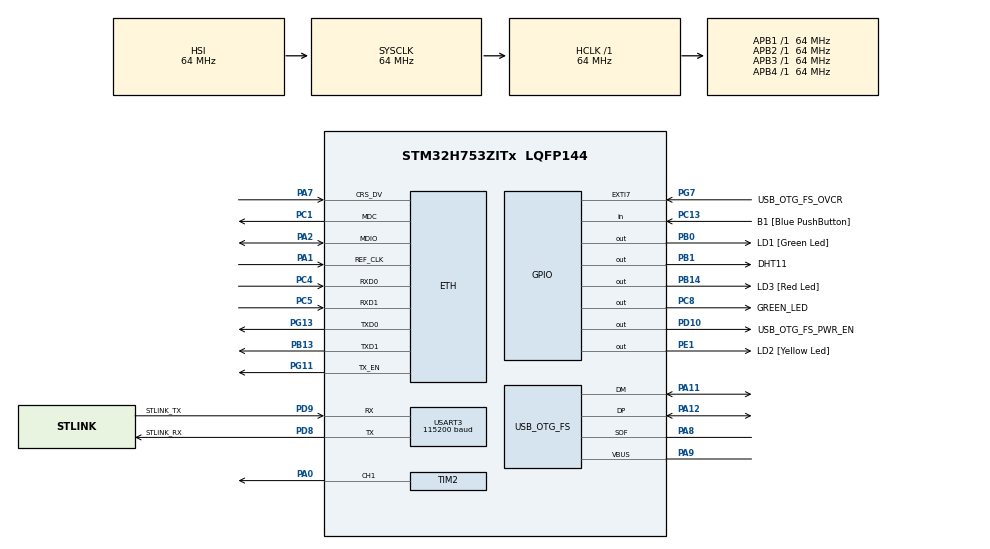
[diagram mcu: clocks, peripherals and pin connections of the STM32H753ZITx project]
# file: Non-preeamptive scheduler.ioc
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CORTEX_M7.CPU_DCache=Disabled
CORTEX_M7.CPU_ICache=Disabled
CORTEX_M7.MPU_Control=__NULL
ETH.ETH_RX_DESC_CNT=4
ETH.ETH_TX_DESC_CNT=4
ETH.MACAddr=00\:80\:E1\:00\:00\:00
ETH.MediaInterface=HAL_ETH_RMII_MODE
ETH.RxBuffAddress=0x30040200
ETH.RxBuffLen=1524
ETH.RxDescAddress=0x30040000
ETH.TxDescAddress=0x30040060
Mcu.Family=STM32H7
Mcu.Name=STM32H753ZITx
Mcu.Package=LQFP144
Mcu.UserConstants=T2_PRE,7000;T2_CNT,4999
NVIC.PriorityGroup=NVIC_PRIORITYGROUP_4
NVIC.TIM2_IRQn=true\:0\:0\:false\:false\:true\:true\:true\:true
PA0.Signal=S_TIM2_CH1_ETR
PA1.Mode=RMII
PA1.Signal=ETH_REF_CLK
PA11.Mode=Device_Only
PA11.Signal=USB_OTG_FS_DM
PA12.Mode=Device_Only
PA12.Signal=USB_OTG_FS_DP
PA2.Mode=RMII
PA2.Signal=ETH_MDIO
PA7.Mode=RMII
PA7.Signal=ETH_CRS_DV
PA8.Mode=Activate_SOF_FS
PA8.Signal=USB_OTG_FS_SOF
PA9.Mode=Activate_VBUS
PA9.Signal=USB_OTG_FS_VBUS
PB0.GPIO_Label=LD1 [Green Led]
PB0.Signal=GPIO_Output
PB1.GPIO_Label=DHT11
PB1.Signal=GPIO_Output
PB13.Mode=RMII
PB13.Signal=ETH_TXD1
PB14.GPIO_Label=LD3 [Red Led]
PB14.Signal=GPIO_Output
PC1.Mode=RMII
PC1.Signal=ETH_MDC
PC13.GPIO_Label=B1 [Blue PushButton]
PC13.Signal=GPIO_Input
PC14-OSC32_IN\ (OSC32_IN).Mode=LSE-External-Oscillator
PC14-OSC32_IN\ (OSC32_IN).Signal=RCC_OSC32_IN
PC15-OSC32_OUT\ (OSC32_OUT).Mode=LSE-External-Oscillator
PC15-OSC32_OUT\ (OSC32_OUT).Signal=RCC_OSC32_OUT
PC4.Mode=RMII
PC4.Signal=ETH_RXD0
PC5.Mode=RMII
PC5.Signal=ETH_RXD1
PC8.GPIO_Label=GREEN_LED
PC8.Signal=GPIO_Output
PD10.GPIO_Label=USB_OTG_FS_PWR_EN
PD10.Signal=GPIO_Output
PD8.GPIO_Label=STLINK_RX
PD8.Mode=Asynchronous
PD8.Signal=USART3_TX
PD9.GPIO_Label=STLINK_TX
PD9.Mode=Asynchronous
PD9.Signal=USART3_RX
PE1.GPIO_Label=LD2 [Yellow Led]
PE1.Signal=GPIO_Output
PG11.Mode=RMII
PG11.Signal=ETH_TX_EN
PG13.Mode=RMII
PG13.Signal=ETH_TXD0
PG7.GPIO_Label=USB_OTG_FS_OVCR
PG7.Signal=GPXTI7
PH0-OSC_IN\ (PH0).Mode=HSE-External-Clock-Source
PH0-OSC_IN\ (PH0).Signal=RCC_OSC_IN
PH1-OSC_OUT\ (PH1).Signal=RCC_OSC_OUT
ProjectManager.HeapSize=0x200
ProjectManager.StackSize=0x400
ProjectManager.TargetToolchain=STM32CubeIDE
RCC.ADCFreq_Value=16125000
RCC.APB1Freq_Value=64000000
RCC.APB2Freq_Value=64000000
RCC.APB3Freq_Value=64000000
RCC.APB4Freq_Value=64000000
RCC.CortexFreq_Value=64000000
RCC.DIVM1=1
RCC.DIVN1=24
RCC.DIVQ1=4
RCC.HCLKFreq_Value=64000000
RCC.HSE_VALUE=8000000
RCC.PLLFRACN=0
RCC.PWR_Regulator_Voltage_Scale=PWR_REGULATOR_VOLTAGE_SCALE2
RCC.SYSCLKFreq_VALUE=64000000
RCC.USBFreq_Value=48000000
SH.S_TIM2_CH1_ETR.0=TIM2_CH1,Output Compare1 CH1
TIM2.Channel-Output\ Compare1\ CH1=TIM_CHANNEL_1
TIM2.Period=T2_CNT
TIM2.Prescaler=T2_PRE
USART3.AutoBaudRateEnableParam=UART_ADVFEATURE_AUTOBAUDRATE_DISABLE
USART3.BaudRate=115200
USART3.ClockPrescaler=PRESCALER_DIV1
USART3.DMADisableonRxErrorParam=ADVFEATURE_DMA_ENABLEONRXERROR
USART3.DataInvertParam=ADVFEATURE_DATAINV_DISABLE
USART3.FIFOMode=FIFOMODE_DISABLE
USART3.MSBFirstParam=ADVFEATURE_MSBFIRST_DISABLE
USART3.Mode=MODE_TX_RX
USART3.OneBitSampling=UART_ONE_BIT_SAMPLE_DISABLE
USART3.OverSampling=UART_OVERSAMPLING_16
USART3.OverrunDisableParam=ADVFEATURE_OVERRUN_ENABLE
USART3.Parity=PARITY_NONE
USART3.RXFIFOThreshold=RXFIFO_THRESHOLD_1EIGHTHFULL
USART3.RxPinLevelInvertParam=ADVFEATURE_RXINV_DISABLE
USART3.StopBits=STOPBITS_1
USART3.SwapParam=ADVFEATURE_SWAP_DISABLE
USART3.TXFIFOThreshold=TXFIFO_THRESHOLD_1EIGHTHFULL
USART3.TxPinLevelInvertParam=ADVFEATURE_TXINV_DISABLE
USART3.VirtualMode-Asynchronous=VM_ASYNC
USART3.WordLength=WORDLENGTH_8B
USB_OTG_FS.Sof_enable=ENABLE
USB_OTG_FS.VirtualMode=Device_Only
USB_OTG_FS.battery_charging_enable=ENABLE
USB_OTG_FS.low_power_enable=DISABLE
USB_OTG_FS.lpm_enable=DISABLE
USB_OTG_FS.use_dedicated_ep1=DISABLE
USB_OTG_FS.vbus_sensing_enable=ENABLE
VP_TIM2_VS_ClockSourceINT.Mode=Internal
board=NUCLEO-H753ZI

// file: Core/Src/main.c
/* USER CODE BEGIN Header */
/**
  ******************************************************************************
  * @file           : main.c
  * @brief          : Main program body
  ******************************************************************************
  * @attention
  *
  * Copyright (c) 2024 STMicroelectronics.
  * All rights reserved.
  *
  * This software is licensed under terms that can be found in the LICENSE file
  * in the root directory of this software component.
  * If no LICENSE file comes with this software, it is provided AS-IS.
  *
  ******************************************************************************
  */
/* USER CODE END Header */
#include "main.h"
#include "string.h"
#include <stdio.h>

/* USER CODE BEGIN PD */
#define T3_PRE 7199
#define T3_CNT 4999
#define T2_PRE 7000
#define T2_CNT 4999
/* USER CODE END PD */

#if defined ( __ICCARM__ ) /*!< IAR Compiler */
#pragma location=0x30040000
ETH_DMADescTypeDef  DMARxDscrTab[ETH_RX_DESC_CNT]; /* Ethernet Rx DMA Descriptors */
#pragma location=0x30040060
ETH_DMADescTypeDef  DMATxDscrTab[ETH_TX_DESC_CNT]; /* Ethernet Tx DMA Descriptors */

#elif defined ( __CC_ARM )  /* MDK ARM Compiler */

__attribute__((at(0x30040000))) ETH_DMADescTypeDef  DMARxDscrTab[ETH_RX_DESC_CNT]; /* Ethernet Rx DMA Descriptors */
__attribute__((at(0x30040060))) ETH_DMADescTypeDef  DMATxDscrTab[ETH_TX_DESC_CNT]; /* Ethernet Tx DMA Descriptors */

#elif defined ( __GNUC__ ) /* GNU Compiler */

ETH_DMADescTypeDef DMARxDscrTab[ETH_RX_DESC_CNT] __attribute__((section(".RxDecripSection"))); /* Ethernet Rx DMA Descriptors */
ETH_DMADescTypeDef DMATxDscrTab[ETH_TX_DESC_CNT] __attribute__((section(".TxDecripSection")));   /* Ethernet Tx DMA Descriptors */
#endif

ETH_TxPacketConfig TxConfig;

ETH_HandleTypeDef heth;

TIM_HandleTypeDef htim2;

UART_HandleTypeDef huart3;

PCD_HandleTypeDef hpcd_USB_OTG_FS;

/* USER CODE BEGIN PV */

//uint8_t p[] = "Hello \r\n";
char sensor[50];
//= "Hello\n\r";

void (*ptr[5])(void*) = {&Blink_Led, &Message, &Sensor};

unsigned long current_millis = 0;
unsigned long current_millis2 = 0;
unsigned long current_millis3 = 0;
unsigned long start_millis = 0;

void sch();

/* USER CODE END PV */

void SystemClock_Config(void);
static void MX_GPIO_Init(void);
static void MX_ETH_Init(void);
static void MX_USART3_UART_Init(void);
static void MX_USB_OTG_FS_PCD_Init(void);
static void MX_TIM2_Init(void);

int main(void)
{

  /* MCU Configuration--------------------------------------------------------*/

  /* Reset of all peripherals, Initializes the Flash interface and the Systick. */
  HAL_Init();

  /* Configure the system clock */
  SystemClock_Config();

  /* Initialize all configured peripherals */
  MX_GPIO_Init();
  MX_ETH_Init();
  MX_USART3_UART_Init();
  MX_USB_OTG_FS_PCD_Init();
  MX_TIM2_Init();
  /* USER CODE BEGIN 2 */
  htim2.Init.Period = T2_PRE;

  HAL_TIM_Base_Start(&htim2);
 // start_millis = HAL_GetTick();
  /* USER CODE END 2 */

  /* Infinite loop */
  while (1)
  {

    /* USER CODE BEGIN 3 */
	 // timer_val = HAL_GetTick();

	  sch();

	//  int len = sprintf(uart_buff, "%u \n\r", timer_val);
	 // HAL_UART_Transmit(&huart3, (uint8_t *)uart_buff, len, 1000);

  }
  /* USER CODE END 3 */
}

void SystemClock_Config(void)
{
  RCC_OscInitTypeDef RCC_OscInitStruct = {0};
  RCC_ClkInitTypeDef RCC_ClkInitStruct = {0};

  /** Supply configuration update enable
  */
  HAL_PWREx_ConfigSupply(PWR_LDO_SUPPLY);

  /** Configure the main internal regulator output voltage
  */
  __HAL_PWR_VOLTAGESCALING_CONFIG(PWR_REGULATOR_VOLTAGE_SCALE2);

  while(!__HAL_PWR_GET_FLAG(PWR_FLAG_VOSRDY)) {}

  /** Initializes the RCC Oscillators according to the specified parameters
  * in the RCC_OscInitTypeDef structure.
  */
  RCC_OscInitStruct.OscillatorType = RCC_OSCILLATORTYPE_HSI|RCC_OSCILLATORTYPE_HSE;
  RCC_OscInitStruct.HSEState = RCC_HSE_BYPASS;
  RCC_OscInitStruct.HSIState = RCC_HSI_DIV1;
  RCC_OscInitStruct.HSICalibrationValue = RCC_HSICALIBRATION_DEFAULT;
  RCC_OscInitStruct.PLL.PLLState = RCC_PLL_ON;
  RCC_OscInitStruct.PLL.PLLSource = RCC_PLLSOURCE_HSE;
  RCC_OscInitStruct.PLL.PLLM = 1;
  RCC_OscInitStruct.PLL.PLLN = 24;
  RCC_OscInitStruct.PLL.PLLP = 2;
  RCC_OscInitStruct.PLL.PLLQ = 4;
  RCC_OscInitStruct.PLL.PLLR = 2;
  RCC_OscInitStruct.PLL.PLLRGE = RCC_PLL1VCIRANGE_3;
  RCC_OscInitStruct.PLL.PLLVCOSEL = RCC_PLL1VCOWIDE;
  RCC_OscInitStruct.PLL.PLLFRACN = 0;
  if (HAL_RCC_OscConfig(&RCC_OscInitStruct) != HAL_OK)
  {
    Error_Handler();
  }

  /** Initializes the CPU, AHB and APB buses clocks
  */
  RCC_ClkInitStruct.ClockType = RCC_CLOCKTYPE_HCLK|RCC_CLOCKTYPE_SYSCLK
                              |RCC_CLOCKTYPE_PCLK1|RCC_CLOCKTYPE_PCLK2
                              |RCC_CLOCKTYPE_D3PCLK1|RCC_CLOCKTYPE_D1PCLK1;
  RCC_ClkInitStruct.SYSCLKSource = RCC_SYSCLKSOURCE_HSI;
  RCC_ClkInitStruct.SYSCLKDivider = RCC_SYSCLK_DIV1;
  RCC_ClkInitStruct.AHBCLKDivider = RCC_HCLK_DIV1;
  RCC_ClkInitStruct.APB3CLKDivider = RCC_APB3_DIV1;
  RCC_ClkInitStruct.APB1CLKDivider = RCC_APB1_DIV1;
  RCC_ClkInitStruct.APB2CLKDivider = RCC_APB2_DIV1;
  RCC_ClkInitStruct.APB4CLKDivider = RCC_APB4_DIV1;

  if (HAL_RCC_ClockConfig(&RCC_ClkInitStruct, FLASH_LATENCY_1) != HAL_OK)
  {
    Error_Handler();
  }
}

static void MX_ETH_Init(void)
{

   static uint8_t MACAddr[6];

  heth.Instance = ETH;
  MACAddr[0] = 0x00;
  MACAddr[1] = 0x80;
  MACAddr[2] = 0xE1;
  MACAddr[3] = 0x00;
  MACAddr[4] = 0x00;
  MACAddr[5] = 0x00;
  heth.Init.MACAddr = &MACAddr[0];
  heth.Init.MediaInterface = HAL_ETH_RMII_MODE;
  heth.Init.TxDesc = DMATxDscrTab;
  heth.Init.RxDesc = DMARxDscrTab;
  heth.Init.RxBuffLen = 1524;

  if (HAL_ETH_Init(&heth) != HAL_OK)
  {
    Error_Handler();
  }

  memset(&TxConfig, 0 , sizeof(ETH_TxPacketConfig));
  TxConfig.Attributes = ETH_TX_PACKETS_FEATURES_CSUM | ETH_TX_PACKETS_FEATURES_CRCPAD;
  TxConfig.ChecksumCtrl = ETH_CHECKSUM_IPHDR_PAYLOAD_INSERT_PHDR_CALC;
  TxConfig.CRCPadCtrl = ETH_CRC_PAD_INSERT;

}

static void MX_TIM2_Init(void)
{

  TIM_ClockConfigTypeDef sClockSourceConfig = {0};
  TIM_MasterConfigTypeDef sMasterConfig = {0};
  TIM_OC_InitTypeDef sConfigOC = {0};

  htim2.Instance = TIM2;
  htim2.Init.Prescaler = T2_PRE;
  htim2.Init.CounterMode = TIM_COUNTERMODE_UP;
  htim2.Init.Period = T2_CNT;
  htim2.Init.ClockDivision = TIM_CLOCKDIVISION_DIV1;
  htim2.Init.AutoReloadPreload = TIM_AUTORELOAD_PRELOAD_DISABLE;
  if (HAL_TIM_Base_Init(&htim2) != HAL_OK)
  {
    Error_Handler();
  }
  sClockSourceConfig.ClockSource = TIM_CLOCKSOURCE_INTERNAL;
  if (HAL_TIM_ConfigClockSource(&htim2, &sClockSourceConfig) != HAL_OK)
  {
    Error_Handler();
  }
  if (HAL_TIM_OC_Init(&htim2) != HAL_OK)
  {
    Error_Handler();
  }
  sMasterConfig.MasterOutputTrigger = TIM_TRGO_RESET;
  sMasterConfig.MasterSlaveMode = TIM_MASTERSLAVEMODE_DISABLE;
  if (HAL_TIMEx_MasterConfigSynchronization(&htim2, &sMasterConfig) != HAL_OK)
  {
    Error_Handler();
  }
  sConfigOC.OCMode = TIM_OCMODE_TIMING;
  sConfigOC.Pulse = 0;
  sConfigOC.OCPolarity = TIM_OCPOLARITY_HIGH;
  sConfigOC.OCFastMode = TIM_OCFAST_DISABLE;
  if (HAL_TIM_OC_ConfigChannel(&htim2, &sConfigOC, TIM_CHANNEL_1) != HAL_OK)
  {
    Error_Handler();
  }
  HAL_TIM_MspPostInit(&htim2);

}

static void MX_USART3_UART_Init(void)
{

  huart3.Instance = USART3;
  huart3.Init.BaudRate = 115200;
  huart3.Init.WordLength = UART_WORDLENGTH_8B;
  huart3.Init.StopBits = UART_STOPBITS_1;
  huart3.Init.Parity = UART_PARITY_NONE;
  huart3.Init.Mode = UART_MODE_TX_RX;
  huart3.Init.HwFlowCtl = UART_HWCONTROL_NONE;
  huart3.Init.OverSampling = UART_OVERSAMPLING_16;
  huart3.Init.OneBitSampling = UART_ONE_BIT_SAMPLE_DISABLE;
  huart3.Init.ClockPrescaler = UART_PRESCALER_DIV1;
  huart3.AdvancedInit.AdvFeatureInit = UART_ADVFEATURE_NO_INIT;
  if (HAL_UART_Init(&huart3) != HAL_OK)
  {
    Error_Handler();
  }
  if (HAL_UARTEx_SetTxFifoThreshold(&huart3, UART_TXFIFO_THRESHOLD_1_8) != HAL_OK)
  {
    Error_Handler();
  }
  if (HAL_UARTEx_SetRxFifoThreshold(&huart3, UART_RXFIFO_THRESHOLD_1_8) != HAL_OK)
  {
    Error_Handler();
  }
  if (HAL_UARTEx_DisableFifoMode(&huart3) != HAL_OK)
  {
    Error_Handler();
  }

}

static void MX_USB_OTG_FS_PCD_Init(void)
{

  hpcd_USB_OTG_FS.Instance = USB_OTG_FS;
  hpcd_USB_OTG_FS.Init.dev_endpoints = 9;
  hpcd_USB_OTG_FS.Init.speed = PCD_SPEED_FULL;
  hpcd_USB_OTG_FS.Init.dma_enable = DISABLE;
  hpcd_USB_OTG_FS.Init.phy_itface = PCD_PHY_EMBEDDED;
  hpcd_USB_OTG_FS.Init.Sof_enable = ENABLE;
  hpcd_USB_OTG_FS.Init.low_power_enable = DISABLE;
  hpcd_USB_OTG_FS.Init.lpm_enable = DISABLE;
  hpcd_USB_OTG_FS.Init.battery_charging_enable = ENABLE;
  hpcd_USB_OTG_FS.Init.vbus_sensing_enable = ENABLE;
  hpcd_USB_OTG_FS.Init.use_dedicated_ep1 = DISABLE;
  if (HAL_PCD_Init(&hpcd_USB_OTG_FS) != HAL_OK)
  {
    Error_Handler();
  }

}

static void MX_GPIO_Init(void)
{
  GPIO_InitTypeDef GPIO_InitStruct = {0};

  /* GPIO Ports Clock Enable */
  __HAL_RCC_GPIOC_CLK_ENABLE();
  __HAL_RCC_GPIOH_CLK_ENABLE();
  __HAL_RCC_GPIOA_CLK_ENABLE();
  __HAL_RCC_GPIOB_CLK_ENABLE();
  __HAL_RCC_GPIOD_CLK_ENABLE();
  __HAL_RCC_GPIOG_CLK_ENABLE();
  __HAL_RCC_GPIOE_CLK_ENABLE();

  /*Configure GPIO pin Output Level */
  HAL_GPIO_WritePin(GPIOB, LD1_Pin|DHT11_Pin|LD3_Pin, GPIO_PIN_RESET);

  /*Configure GPIO pin Output Level */
  HAL_GPIO_WritePin(USB_OTG_FS_PWR_EN_GPIO_Port, USB_OTG_FS_PWR_EN_Pin, GPIO_PIN_RESET);

  /*Configure GPIO pin Output Level */
  HAL_GPIO_WritePin(GREEN_LED_GPIO_Port, GREEN_LED_Pin, GPIO_PIN_RESET);

  /*Configure GPIO pin Output Level */
  HAL_GPIO_WritePin(LD2_GPIO_Port, LD2_Pin, GPIO_PIN_RESET);

  /*Configure GPIO pin : B1_Pin */
  GPIO_InitStruct.Pin = B1_Pin;
  GPIO_InitStruct.Mode = GPIO_MODE_INPUT;
  GPIO_InitStruct.Pull = GPIO_NOPULL;
  HAL_GPIO_Init(B1_GPIO_Port, &GPIO_InitStruct);

  /*Configure GPIO pins : LD1_Pin DHT11_Pin LD3_Pin */
  GPIO_InitStruct.Pin = LD1_Pin|DHT11_Pin|LD3_Pin;
  GPIO_InitStruct.Mode = GPIO_MODE_OUTPUT_PP;
  GPIO_InitStruct.Pull = GPIO_NOPULL;
  GPIO_InitStruct.Speed = GPIO_SPEED_FREQ_LOW;
  HAL_GPIO_Init(GPIOB, &GPIO_InitStruct);

  /*Configure GPIO pin : USB_OTG_FS_PWR_EN_Pin */
  GPIO_InitStruct.Pin = USB_OTG_FS_PWR_EN_Pin;
  GPIO_InitStruct.Mode = GPIO_MODE_OUTPUT_PP;
  GPIO_InitStruct.Pull = GPIO_NOPULL;
  GPIO_InitStruct.Speed = GPIO_SPEED_FREQ_LOW;
  HAL_GPIO_Init(USB_OTG_FS_PWR_EN_GPIO_Port, &GPIO_InitStruct);

  /*Configure GPIO pin : USB_OTG_FS_OVCR_Pin */
  GPIO_InitStruct.Pin = USB_OTG_FS_OVCR_Pin;
  GPIO_InitStruct.Mode = GPIO_MODE_IT_RISING;
  GPIO_InitStruct.Pull = GPIO_NOPULL;
  HAL_GPIO_Init(USB_OTG_FS_OVCR_GPIO_Port, &GPIO_InitStruct);

  /*Configure GPIO pin : GREEN_LED_Pin */
  GPIO_InitStruct.Pin = GREEN_LED_Pin;
  GPIO_InitStruct.Mode = GPIO_MODE_OUTPUT_PP;
  GPIO_InitStruct.Pull = GPIO_NOPULL;
  GPIO_InitStruct.Speed = GPIO_SPEED_FREQ_LOW;
  HAL_GPIO_Init(GREEN_LED_GPIO_Port, &GPIO_InitStruct);

  /*Configure GPIO pin : LD2_Pin */
  GPIO_InitStruct.Pin = LD2_Pin;
  GPIO_InitStruct.Mode = GPIO_MODE_OUTPUT_PP;
  GPIO_InitStruct.Pull = GPIO_NOPULL;
  GPIO_InitStruct.Speed = GPIO_SPEED_FREQ_LOW;
  HAL_GPIO_Init(LD2_GPIO_Port, &GPIO_InitStruct);

}

/* USER CODE BEGIN 4 */

void Blink_Led(void *arg)
{
	if(arg == NULL) return;
	task1 *mojHandler = (task1*)arg;

		HAL_GPIO_TogglePin(GPIOC, GPIO_PIN_8);

}

void Message(void *arg2)
{
	if(arg2 == NULL) return;
	task2 *mojHandler2 = (task2*)arg2;
//	mojHandler2->htim;
	uint8_t polje[50];

	sprintf(polje, " %d", mojHandler2->p);
	HAL_UART_Transmit(&huart3, polje, 50, 1000);
	//	printf()

}

void Sensor(void *arg3)
{
	if(arg3 == NULL) return;
	task3 *mojHandler3 = (task3*)arg3;

		int a = HAL_GPIO_ReadPin(GPIOB, GPIO_PIN_1);
		int len = sprintf(sensor, "Temp: %d", a);
		HAL_UART_Transmit(&huart3,(uint8_t *)sensor, len, 1000);

}

void sch()
{
	//funkcije[0] = Blink_Led(&htim2)
	//funkcije[1] = Message(&htim3);
	//start_millis = HAL_GetTick();
	task1 t1;
	t1.task1_period = 1000;
	t1.htim = &htim2;

	task2 t2;
	t2.htim = &htim2;
	t2.task2_period = 5000;
	t2.p = 12;
	task3 t3;
	t3.htim = &htim2;
	t3.task3_period = 10000;

	start_millis = __HAL_TIM_GET_COUNTER(&htim2);

	//  current_millis = 0; //get current time
	 // next = current_millis - start_millis + 1000;

	 // Message(&htim2);
	   //elapsed time

	  if(start_millis - current_millis > t1.task1_period)
	  {
		  current_millis = start_millis;
		  ptr[0](&t1);

	  }
	  if(start_millis - current_millis2 > t2.task2_period)
	  {
		  current_millis2 = start_millis;
			ptr[1](&t2);
	  }
	  if(start_millis - current_millis3 > t3.task3_period)
	  {
		  current_millis3 = start_millis;
			ptr[2](&t3);
	  }

}
/*void message()
{
	char buffer[10];
	uint8_t len = sprintf(buffer , "Hello \n\r ", buffer);
	HAL_UART_Transmit(&huart3, (uint8_t *)buffer, sizeof(buffer), 1000);
}

void Non_Preamtive_Scheduler()
{
	HAL_TIM_Base_Start_IT(&huart3);
	TIM_HandleTypeDef htim3;
	htim3.Intit.Period = 100;
}
*/
/* USER CODE END 4 */

void Error_Handler(void)
{
  __disable_irq();
  while (1)
  {
  }
}
